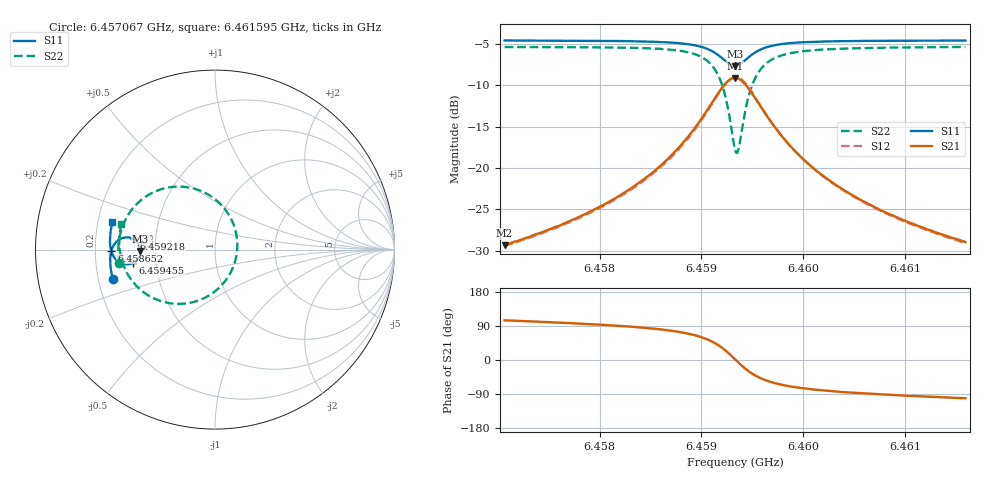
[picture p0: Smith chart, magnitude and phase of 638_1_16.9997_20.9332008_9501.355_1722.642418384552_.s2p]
#  HZ  S  RI  R  50.00
! Rohde & Schwarz Vector Network Analyzer
! Rohde-Schwarz,ZNB20-2Port,1311601062101988,3.16
! Created: UTC 3/20/2024, 11:20:42 PM
! freq[Hz]  re:S11  im:S11  re:S21  im:S21  re:S12  im:S12  re:S22  im:S22
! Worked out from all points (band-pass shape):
!   401 points, 6.457067 GHz to 6.461595 GHz, reference 50 ohm
!   highest |S21| = -9.08 dB at 6.459331 GHz (marker M1); lowest = -29.3 dB at 6.457067 GHz (marker M2)
!   |S21| within 3 dB of the highest: 6.459105 GHz to 6.459558 GHz (452.9 kHz wide, 0.00701 % of centre)
!   lowest |S11| = -7.6 dB at 6.459331 GHz (marker M3), VSWR 2.42, Z = 20.7 - j0.352 ohm
!   |S11| at or under -10 dB: nowhere
!   |S22| runs from -18.1 to -5.3 dB; largest |S21 - S12| = 0.014
!   S11 on the Smith chart (normalised r, x): 6.457067 GHz: 0.26, -0.13; 6.458652 GHz: 0.27, -0.00; 6.459218 GHz: 0.38, +0.05; 6.459455 GHz: 0.37, -0.07; 6.461595 GHz: 0.26, +0.12
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6.4570674e9  -0.5687 -0.1652  -0.0087 0.0331  -0.00687 0.033  -0.5345 -0.0764
6.4578257e9  -0.5818 -0.0985  -0.00516 0.0514  -0.00252 0.0507  -0.5386 0.0136
6.4582444e9  -0.5841 -0.0562  0.00107 0.0711  0.00442 0.0696  -0.5295 0.0811
6.458584e9  -0.5798 -0.0152  0.0155 0.1003  0.0195 0.0974  -0.5028 0.1591
6.4586519e9  -0.5775 -0.00582  0.0209 0.1087  0.0251 0.1054  -0.4924 0.1792
6.4588443e9  -0.5644 0.0247  0.0481 0.14  0.0522 0.1348  -0.4411 0.2486
6.4589914e9  -0.5412 0.0508  0.0943 0.1706  0.0975 0.1636  -0.3556 0.3132
6.4591273e9  -0.4967 0.0681  0.1829 0.1867  0.1839 0.1792  -0.1935 0.3509
6.4592178e9  -0.4515 0.0573  0.274 0.1544  0.2742 0.1487  -0.0244 0.2984
6.4592857e9  -0.4222 0.0246  0.3352 0.0812  0.3374 0.0758  0.0924 0.1659
6.459331e9  -0.4153 -0.00706  0.3515 0.012  0.3553 0.00504  0.1243 0.0362
6.4593649e9  -0.4193 -0.0312  0.3453 -0.0414  0.3493 -0.0505  0.1121 -0.0652
6.4594102e9  -0.4353 -0.0578  0.3159 -0.1022  0.3183 -0.1143  0.0527 -0.1805
6.4594555e9  -0.4577 -0.0743  0.2729 -0.1437  0.2721 -0.1574  -0.0348 -0.2564
6.459546e9  -0.5019 -0.0812  0.1863 -0.175  0.1799 -0.1866  -0.2077 -0.3024
6.4596139e9  -0.5264 -0.0738  0.137 -0.1726  0.1288 -0.1818  -0.3029 -0.2866
6.4596932e9  -0.5463 -0.0605  0.0969 -0.1602  0.0881 -0.1665  -0.3783 -0.2508
6.4598516e9  -0.5681 -0.0327  0.0514 -0.1314  0.0435 -0.1342  -0.4597 -0.1769
6.4600893e9  -0.5809 0.00288  0.022 -0.0989  0.016 -0.0997  -0.5078 -0.0929
6.4604062e9  -0.5853 0.0412  0.00643 -0.073  0.00231 -0.0726  -0.5286 -0.0174
6.4608476e9  -0.5833 0.0861  -0.00171 -0.0527  -0.00466 -0.0518  -0.5331 0.0555
6.4615946e9  -0.5713 0.1525  -0.00675 -0.035  -0.00843 -0.0343  -0.5214 0.145
